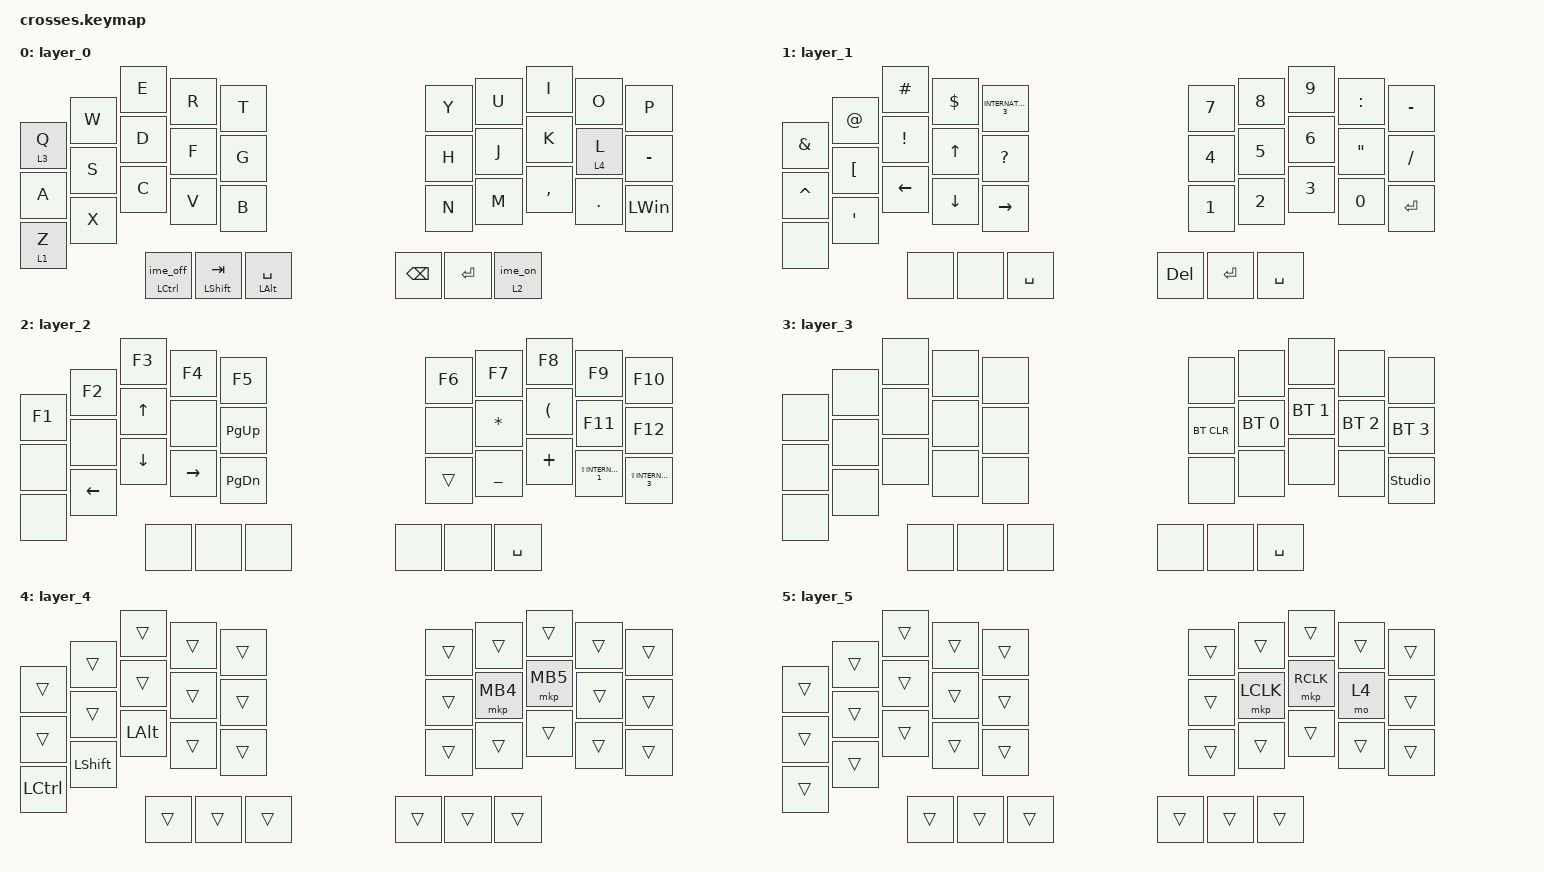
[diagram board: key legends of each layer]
#include <input/processors.dtsi>
#include <behaviors.dtsi>
#include <dt-bindings/zmk/bt.h>
#include <dt-bindings/zmk/keys.h>
#include <dt-bindings/zmk/pointing.h>

// JIS host layout mappings. These emit the HID usages that produce the
// intended characters while the OS keyboard layout is set to Japanese.
#define JP_DQUOTE AT
#define JP_AMPERSAND CARET
#define JP_QUOTE AMPERSAND
#define JP_EQUAL UNDER
#define JP_CARET EQUAL
#define JP_YEN INTERNATIONAL_3
#define JP_PLUS COLON
#define JP_TILDE PLUS
#define JP_PIPE LS(INTERNATIONAL_3)
#define JP_AT LEFT_BRACKET
#define JP_COLON SINGLE_QUOTE
#define JP_ASTERISK DOUBLE_QUOTES
#define JP_BACKQUOTE LEFT_BRACE
#define JP_UNDERSCORE LS(INTERNATIONAL_1)
#define JP_LBRACKET RIGHT_BRACKET
#define JP_RBRACKET BACKSLASH
#define JP_LPAREN ASTERISK
#define JP_RPAREN LEFT_PARENTHESIS
#define JP_LBRACE RIGHT_BRACE
#define JP_RBRACE PIPE
#define JP_KANA LANGUAGE_1
#define JP_EISU LANGUAGE_2
#define JP_HANZEN GRAVE

&lt {
    tapping-term-ms = <200>;
    flavor = "balanced";
    quick-tap-ms = <150>;
};

/ {
    macros {
        ime_on: ime_on {
            compatible = "zmk,behavior-macro";
            #binding-cells = <0>;
            bindings = <&macro_tap &kp JP_KANA &kp INT_HENKAN>;
        };

        ime_off: ime_off {
            compatible = "zmk,behavior-macro";
            #binding-cells = <0>;
            bindings = <&macro_tap &kp JP_EISU &kp INT_MUHENKAN>;
        };
    };

    behaviors {
        ime_off_mt: ime_off_mod_tap {
            compatible = "zmk,behavior-hold-tap";
            #binding-cells = <2>;
            flavor = "hold-preferred";
            tapping-term-ms = <200>;
            bindings = <&kp>, <&ime_off>;
        };

        ime_on_lt: ime_on_layer_tap {
            compatible = "zmk,behavior-hold-tap";
            #binding-cells = <2>;
            flavor = "balanced";
            tapping-term-ms = <200>;
            quick-tap-ms = <150>;
            bindings = <&mo>, <&ime_on>;
        };
    };

    combos {
        compatible = "zmk,combos";

        mclk {
            bindings = <&mkp MCLK>;
            key-positions = <16 15>;
        };

        whispering {
            bindings = <&kp LA(LS(D))>;
            key-positions = <34 35>;
        };
    };

    keymap {
        compatible = "zmk,keymap";

        layer_0 {
            bindings = <
&lt 3 Q  &kp W  &kp E                 &kp R               &kp T                 &kp Y          &kp U      &kp I             &kp O       &kp P
&kp A    &kp S  &kp D                 &kp F               &kp G                 &kp H          &kp J      &kp K             &lt 4 L     &kp MINUS
&lt 1 Z  &kp X  &kp C                 &kp V               &kp B                 &kp N          &kp M      &kp COMMA         &kp PERIOD  &kp LEFT_WIN
                &ime_off_mt LCTRL 0   &mt LEFT_SHIFT TAB  &mt LEFT_ALT SPACE    &kp BACKSPACE  &kp ENTER  &ime_on_lt 2 0
            >;
        };

        layer_1 {
            bindings = <
&kp JP_QUOTE      &kp JP_DQUOTE  &kp HASH        &kp DOLLAR    &kp JP_YEN      &kp N7        &kp N8        &kp N9        &kp JP_PLUS      &kp MINUS
&kp JP_AMPERSAND  &kp JP_AT      &kp EXCL        &kp UP_ARROW  &kp QUESTION    &kp NUMBER_4  &kp N5        &kp NUMBER_6  &kp JP_ASTERISK  &kp SLASH
&none             &kp JP_COLON   &kp LEFT_ARROW  &kp DOWN      &kp RIGHT       &kp NUMBER_1  &kp NUMBER_2  &kp NUMBER_3  &kp N0           &kp ENTER
                                     &none           &none         &kp SPACE        &kp DELETE    &kp ENTER     &kp SPACE
            >;
        };

        layer_2 {
            bindings = <
&kp F1  &kp F2          &kp F3          &kp F4           &kp F5           &kp F6  &kp F7                &kp F8                 &kp F9          &kp F10
&none   &none           &kp UP_ARROW    &none            &kp PAGE_UP      &none   &kp JP_LPAREN  &kp JP_RPAREN  &kp F11            &kp F12
&none   &kp LEFT_ARROW  &kp DOWN_ARROW  &kp RIGHT_ARROW  &kp PAGE_DOWN    &trans  &kp JP_EQUAL   &kp JP_TILDE   &kp JP_UNDERSCORE  &kp JP_PIPE
                        &none           &none            &none            &none   &none                 &kp SPACE
            >;
        };

        layer_3 {
            bindings = <
&none  &none  &none  &none  &none    &none       &none         &none         &none         &none
&none  &none  &none  &none  &none    &bt BT_CLR  &bt BT_SEL 0  &bt BT_SEL 1  &bt BT_SEL 2  &bt BT_SEL 3
&none  &none  &none  &none  &none    &none       &none         &none         &none         &studio_unlock
              &none  &none  &none    &none       &none         &kp SPACE
            >;
        };

        layer_4 {
            bindings = <
&trans     &trans     &trans        &trans  &trans    &trans  &trans    &trans    &trans  &trans
&trans     &trans     &trans        &trans  &trans    &trans  &mkp MB4  &mkp MB5  &trans  &trans
&kp LCTRL  &kp LSHFT  &kp LEFT_ALT  &trans  &trans    &trans  &trans    &trans    &trans  &trans
                      &trans        &trans  &trans    &trans  &trans    &trans
            >;
        };

        layer_5 {
            bindings = <
&trans  &trans  &trans  &trans  &trans    &trans  &trans     &trans     &trans  &trans
&trans  &trans  &trans  &trans  &trans    &trans  &mkp LCLK  &mkp RCLK  &mo 4   &trans
&trans  &trans  &trans  &trans  &trans    &trans  &trans     &trans     &trans  &trans
                &trans  &trans  &trans    &trans  &trans     &trans
            >;
        };

        /* layer_2 {
            bindings = <
&none  &none   &none    &none   &none         &none         &kp N1         &none         &none     &none  &none   &to 0
&none  &none   &none    &none   &none         &none         &none         &none          &rgb_ug RGB_BRD &rgb_ug RGB_BRI  &rgb_ug RGB_EFF   &rgb_ug RGB_TOG
&none  &none   &none    &none   &none         &none         &none         &mkp LCLK     &mkp RCLK  &none  &none   &none
&none  &none   &none    &none   &bt BT_NXT  &bt BT_CLR    &none         &none         &none     &none  &none   &none
                                   &none         &none         &none         &none         &none
                                                 &none         &none         &none
            >;
       
            
        };

       Mouse {
            bindings = <
&none        &none         &none         &none         &none      &none         &none       &none      &none         &none         &none         &none
&none        &bt BT_SEL 0  &bt BT_SEL 1  &bt BT_SEL 3  &none      &bt BT_CLR    &bt BT_CLR  &none      &bt BT_SEL 2  &bt BT_SEL 1  &bt BT_SEL 0  &none
&none        &trans        &trans        &mkp MCLK     &trans     &none         &none       &trans     &mkp MCLK     &trans        &trans        &none
&bootloader  &trans        &mkp RCLK     &mo 4         &mkp LCLK  &mo 5         &mo 5       &mkp LCLK  &mo 4         &mkp RCLK     &trans        &bootloader
                                         &mo 5         &mkp LCLK  &mkp RCLK     &mkp RCLK   &mkp LCLK
                                                       &none      &trans        &trans
            >;

            
        };

        layer_4 {
            bindings = <
&trans  &trans  &trans     &trans     &trans     &trans       &trans     &trans     &trans     &trans     &trans  &trans
&trans  &trans  &trans     &trans     &trans     &trans       &trans     &trans     &trans     &trans     &trans  &trans
&trans  &trans  &trans     &mkp MCLK  &trans     &trans       &trans     &trans     &mkp MCLK  &trans     &trans  &trans
&trans  &trans  &mkp RCLK  &trans     &mkp LCLK  &trans       &trans     &mkp LCLK  &trans     &mkp RCLK  &trans  &trans
                           &trans     &mkp LCLK  &mkp RCLK    &mkp RCLK  &mkp LCLK
                                      &trans     &trans       &trans
            >;
                
                
               
        };

        layer_5 {
            bindings = <
&trans  &trans  &trans     &trans     &trans     &trans       &trans     &trans     &trans     &trans     &trans  &trans
&trans  &trans  &trans     &trans     &trans     &trans       &trans     &trans     &trans     &trans     &trans  &trans
&trans  &trans  &trans     &mkp MCLK  &trans     &trans       &trans     &trans     &mkp MCLK  &trans     &trans  &trans
&trans  &trans  &mkp RCLK  &trans     &mkp LCLK  &trans       &trans     &mkp LCLK  &trans     &mkp RCLK  &trans  &trans
                           &trans     &mkp LCLK  &mkp RCLK    &mkp RCLK  &mkp LCLK
                                      &trans     &trans       &trans
            >;
                
                
        };*/
    };
};

//&mkp_input_listener { input-processors = <&zip_temp_layer 5 250>; };
